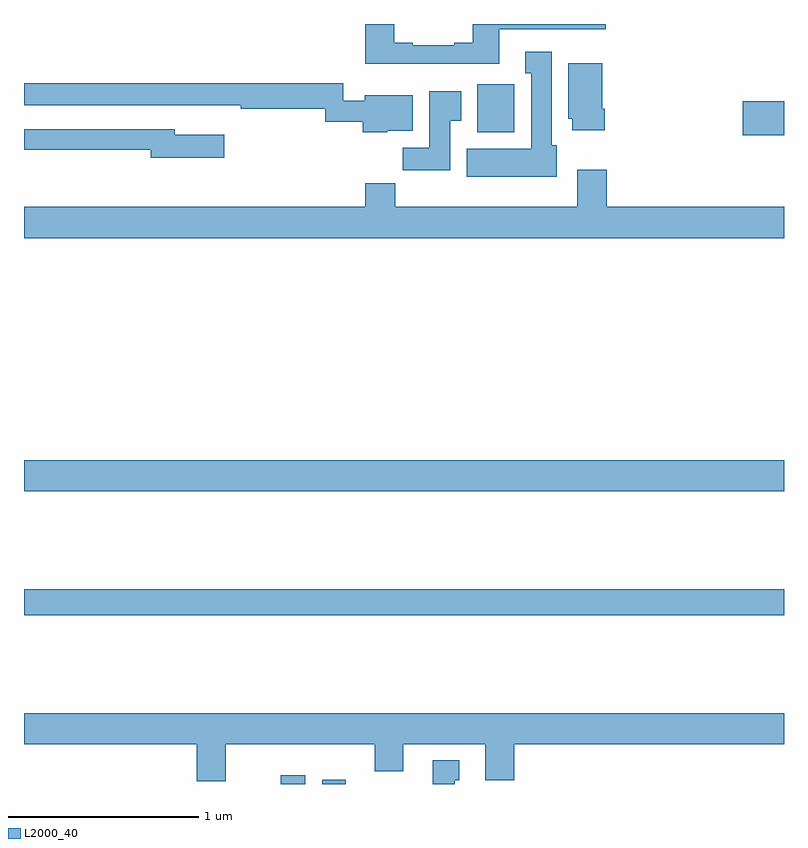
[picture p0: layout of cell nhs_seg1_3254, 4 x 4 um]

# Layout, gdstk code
import gdstk
lib = gdstk.Library(unit=1e-6, precision=1e-09)
def R(c, l, rs):  # rectangles x0, y0, x1, y1
    for r in rs: c.add(gdstk.rectangle(r[:2], r[2:], *l))
def P(c, l, *ps):  # polygons
    for p in ps: c.add(gdstk.Polygon(p, *l))
L2000_40 = (2000, 40)

nhs_seg1_3254 = lib.new_cell('nhs_seg1_3254')
R(nhs_seg1_3254, L2000_40, [(288.35,542.199,288.481,542.245), (288.569,542.199,288.694,542.221), (287,543.088,291,543.224), (287,543.74,291,543.904), (290.784,545.614,291,545.792), (289.385,545.63,289.581,545.881)])
P(nhs_seg1_3254, L2000_40, [(289.501,546.171),(290.062,546.171),(290.062,546.199),(289.361,546.199),(289.361,546.1),(289.265,546.1),(289.265,546.087),(289.045,546.087),(289.045,546.1),(288.949,546.1),(288.949,546.199),(288.797,546.199),(288.797,545.99),(289.501,545.99)],
  [(289.804,545.562),(289.777,545.562),(289.777,546.052),(289.637,546.052),(289.637,545.939),(289.67,545.939),(289.67,545.542),(289.331,545.542),(289.331,545.396),(289.804,545.396)],
  [(290.057,545.752),(290.044,545.752),(290.044,545.992),(289.865,545.992),(289.865,545.7),(289.886,545.7),(289.886,545.64),(290.057,545.64)],
  [(288.912,545.636),(289.045,545.636),(289.045,545.824),(288.794,545.824),(288.794,545.795),(288.681,545.795),(288.681,545.888),(287,545.888),(287,545.772),(287.89,545.772),(287.89,545.771),(288.142,545.771),(288.142,545.752),(288.585,545.752),(288.585,545.685),(288.782,545.685),(288.782,545.63),(288.912,545.63)],
  [(289.243,545.689),(289.3,545.689),(289.3,545.845),(289.133,545.845),(289.133,545.548),(288.994,545.548),(288.994,545.43),(289.243,545.43)],
  [(288.055,545.617),(287.794,545.617),(287.794,545.646),(287,545.646),(287,545.538),(287.666,545.538),(287.666,545.495),(288.055,545.495)],
  [(291,545.236),(290.066,545.236),(290.066,545.431),(289.913,545.431),(289.913,545.236),(288.953,545.236),(288.953,545.36),(288.797,545.36),(288.797,545.236),(287,545.236),(287,545.072),(291,545.072)],
  [(288.061,542.408),(288.845,542.408),(288.845,542.267),(288.997,542.267),(288.997,542.408),(289.427,542.408),(289.427,542.219),(289.58,542.219),(289.58,542.408),(291,542.408),(291,542.572),(287,542.572),(287,542.408),(287.909,542.408),(287.909,542.214),(288.061,542.214)],
  [(289.267,542.22),(289.291,542.22),(289.291,542.323),(289.151,542.323),(289.151,542.199),(289.267,542.199)])

lib.write_gds('nhs_seg1_3254.gds')
